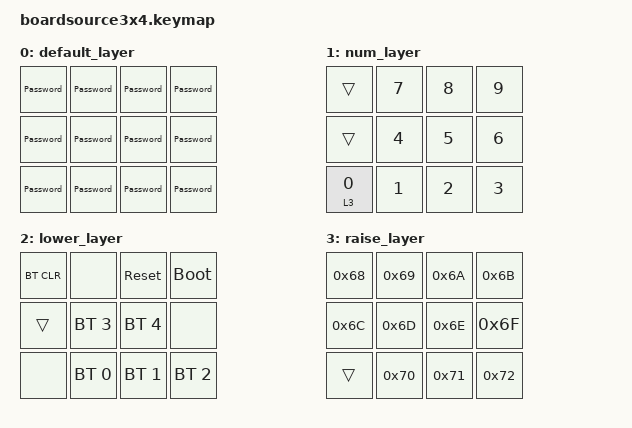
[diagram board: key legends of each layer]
/*
 * Copyright (c) 2020 The ZMK Contributors
 *
 * SPDX-License-Identifier: MIT
 */

#include <behaviors.dtsi>
#include <dt-bindings/zmk/bt.h>
#include <dt-bindings/zmk/keys.h>

/ {
    macros {
        Password: Password {
            compatible = "zmk,behavior-macro";
            #binding-cells = <0>;
            bindings = <&none &kp LS(X) &kp A &kp N &kp D &kp E &kp R &kp LS(D) &kp LS(E) &kp R &kp I &kp C &kp K &kp S &kp O &kp N>;
            label = "PASSWORD";
        };
    };

    keymap {
        compatible = "zmk,keymap";

        default_layer {
            bindings = <
&Password  &Password  &Password  &Password
&Password  &Password  &Password  &Password
&Password  &Password  &Password  &Password
            >;
        };

        num_layer {
            bindings = <
&trans    &kp N7  &kp N8  &kp N9
&trans    &kp N4  &kp N5  &kp N6
&lt 3 N0  &kp N1  &kp N2  &kp N3
            >;
        };

        lower_layer {
            bindings = <
&bt BT_CLR  &none         &sys_reset    &bootloader
&trans      &bt BT_SEL 3  &bt BT_SEL 4  &none
&none       &bt BT_SEL 0  &bt BT_SEL 1  &bt BT_SEL 2
            >;
        };

        raise_layer {
            bindings = <
&kp 0x68  &kp 0x69  &kp 0x6A  &kp 0x6B
&kp 0x6C  &kp 0x6D  &kp 0x6E  &kp 0x6F
&trans    &kp 0x70  &kp 0x71  &kp 0x72
            >;
        };
    };
};
